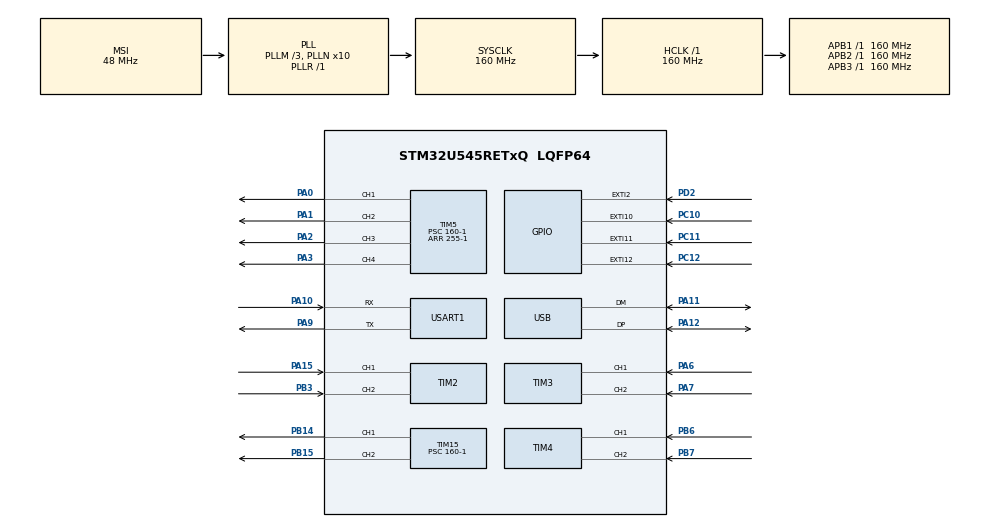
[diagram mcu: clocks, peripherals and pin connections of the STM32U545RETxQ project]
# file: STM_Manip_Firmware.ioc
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CORTEX_M33_NS.userName=CORTEX_M33
Mcu.Family=STM32U5
Mcu.Name=STM32U545RETxQ
Mcu.Package=LQFP64
NVIC.EXTI10_IRQn=true\:0\:0\:false\:false\:true\:false\:true\:true\:true
NVIC.EXTI11_IRQn=true\:0\:0\:false\:false\:true\:false\:true\:true\:true
NVIC.EXTI12_IRQn=true\:0\:0\:false\:false\:true\:false\:true\:true\:true
NVIC.EXTI2_IRQn=true\:0\:0\:false\:false\:true\:false\:true\:true\:true
NVIC.PriorityGroup=NVIC_PRIORITYGROUP_4
NVIC.TIM2_IRQn=true\:0\:0\:false\:false\:true\:false\:true\:true\:true
NVIC.TIM3_IRQn=true\:0\:0\:false\:false\:true\:false\:true\:true\:true
NVIC.TIM4_IRQn=true\:0\:0\:false\:false\:true\:false\:true\:true\:true
NVIC.TIM6_IRQn=true\:15\:0\:false\:false\:true\:false\:false\:true\:true
NVIC.TimeBase=TIM6_IRQn
NVIC.TimeBaseIP=TIM6
NVIC.USB_IRQn=true\:7\:0\:true\:false\:true\:false\:true\:true\:true
PA0.Signal=S_TIM5_CH1
PA1.Signal=S_TIM5_CH2
PA10.Mode=Asynchronous
PA10.Signal=USART1_RX
PA11.Mode=Device
PA11.Signal=USB_DM
PA12.Mode=Device
PA12.Signal=USB_DP
PA15\ (JTDI).Signal=S_TIM2_CH1
PA2.Signal=S_TIM5_CH3
PA3.Signal=S_TIM5_CH4
PA6.Signal=S_TIM3_CH1
PA7.Signal=S_TIM3_CH2
PA9.Mode=Asynchronous
PA9.Signal=USART1_TX
PB14.Signal=S_TIM15_CH1
PB15.Signal=S_TIM15_CH2
PB3\ (JTDO/TRACESWO).Signal=S_TIM2_CH2
PB6.Signal=S_TIM4_CH1
PB7.Signal=S_TIM4_CH2
PC10.GPIO_ModeDefaultEXTI=GPIO_MODE_IT_RISING_FALLING
PC10.Signal=GPXTI10
PC11.GPIO_ModeDefaultEXTI=GPIO_MODE_IT_RISING_FALLING
PC11.Signal=GPXTI11
PC12.GPIO_ModeDefaultEXTI=GPIO_MODE_IT_RISING_FALLING
PC12.Signal=GPXTI12
PD2.GPIO_ModeDefaultEXTI=GPIO_MODE_IT_RISING_FALLING
PD2.Signal=GPXTI2
PH0-OSC_IN\ (PH0).Mode=HSE-External-Clock-Source
PH0-OSC_IN\ (PH0).Signal=RCC_OSC_IN
PWR.PowerMode=PWR_SMPS_SUPPLY
ProjectManager.HeapSize=0x200
ProjectManager.StackSize=0x400
ProjectManager.TargetToolchain=STM32CubeIDE
RCC.ADCFreq_Value=16000000
RCC.AHBFreq_Value=160000000
RCC.APB1Freq_Value=160000000
RCC.APB1TimFreq_Value=160000000
RCC.APB2Freq_Value=160000000
RCC.APB2TimFreq_Value=160000000
RCC.APB3Freq_Value=160000000
RCC.CortexFreq_Value=160000000
RCC.DACCLockSelectionVirtual=RCC_DAC1CLKSOURCE_LSI
RCC.DACCLockSelectionVirtualString=RCC_DAC1CLKSOURCE_LSI
RCC.EPOD_VALUE=48000000
RCC.HCLKFreq_Value=160000000
RCC.HSE_VALUE=16000000
RCC.HSI48_VALUE=48000000
RCC.HSI_VALUE=16000000
RCC.LSE_VALUE=32768
RCC.LSIDIV_VALUE=32000
RCC.MSIClockRange=RCC_MSIRANGE_0
RCC.MSI_VALUE=48000000
RCC.PLL1R=1
RCC.PLL2FRACN=0
RCC.PLL3FRACN=0
RCC.PLLFRACN=0
RCC.PLLM=3
RCC.PLLN=10
RCC.SYSCLKFreq_VALUE=160000000
RCC.SYSCLKSource=RCC_SYSCLKSOURCE_PLLCLK
RCC.USBFreq_Value=48000000
RCC.VCOOutputFreq_Value=160000000
SH.S_TIM15_CH1.0=TIM15_CH1,PWM Generation1 CH1
SH.S_TIM15_CH2.0=TIM15_CH2,PWM Generation2 CH2
SH.S_TIM2_CH1.0=TIM2_CH1,Encoder_Interface
SH.S_TIM2_CH2.0=TIM2_CH2,Encoder_Interface
SH.S_TIM3_CH1.0=TIM3_CH1,Encoder_Interface
SH.S_TIM3_CH2.0=TIM3_CH2,Encoder_Interface
SH.S_TIM4_CH1.0=TIM4_CH1,Encoder_Interface
SH.S_TIM4_CH2.0=TIM4_CH2,Encoder_Interface
SH.S_TIM5_CH1.0=TIM5_CH1,PWM Generation1 CH1
SH.S_TIM5_CH2.0=TIM5_CH2,PWM Generation2 CH2
SH.S_TIM5_CH3.0=TIM5_CH3,PWM Generation3 CH3
SH.S_TIM5_CH4.0=TIM5_CH4,PWM Generation4 CH4
TIM15.Channel-PWM\ Generation1\ CH1=TIM_CHANNEL_1
TIM15.Channel-PWM\ Generation2\ CH2=TIM_CHANNEL_2
TIM15.PeriodNoDither=255-1
TIM15.Prescaler=160-1
TIM2.EncoderMode=TIM_ENCODERMODE_TI12
TIM3.EncoderMode=TIM_ENCODERMODE_TI12
TIM4.EncoderMode=TIM_ENCODERMODE_TI12
TIM5.Channel-PWM\ Generation1\ CH1=TIM_CHANNEL_1
TIM5.Channel-PWM\ Generation2\ CH2=TIM_CHANNEL_2
TIM5.Channel-PWM\ Generation3\ CH3=TIM_CHANNEL_3
TIM5.Channel-PWM\ Generation4\ CH4=TIM_CHANNEL_4
TIM5.PeriodNoDither=255-1
TIM5.Prescaler=160-1
USART1.VirtualMode-Asynchronous=VM_ASYNC
USBX.Core_System=1
USBX.MAX_POWER_IN_MILLI_AMPER=0
USBX.USBD_CDCACM_EPINCMD_ADDR=2
USBX.USBD_CDCACM_EPIN_ADDR=1
USBX.USBD_PID=22336
USBX.USBD_PRODUCT_STRING=STM32 Virtual ComPort
USBX.USBD_SERIAL_NUMBER=CDC_ACM001
USBX.USBX_DEVICE_SYS_SIZE=6*1024
USBX.UX_DEVICE_APP_MEM_POOL_SIZE=15*1024
USBX.UX_DEVICE_CDC_ACM=1
USBX.UX_DEVICE_CLASS_CDC_ACM_WRITE_AUTO_ZLP=1
USBX.UX_Device_Controller=1
USBX.UX_Device_CoreStack=1
USBX.UX_MAX_SLAVE_CLASS_DRIVER=1
USBX.UX_SLAVE_REQUEST_DATA_MAX_LENGTH=512
VP_ICACHE_VS_ICACHE.Mode=DirectMappedCache
VP_LPBAMQUEUE_VS_QUEUE.Mode=QUEUEMODE
VP_LPBAM_VS_SIG1.Mode=SmartRun
VP_LPBAM_VS_SIG4.Mode=LPDMA1
VP_MEMORYMAP_VS_MEMORYMAP.Mode=CurAppReg
VP_PWR_VS_DBSignals.Mode=DisableDeadBatterySignals
VP_PWR_VS_LPOM.Mode=PowerOptimisation
VP_PWR_VS_SECSignals.Mode=Security/Privilege
VP_RCC_USB.Mode=CRS SYNC Source USB
VP_SYS_VS_tim6.Mode=TIM6
VP_THREADX_VS_RTOSJjThreadXJjCoreJjDefault.Mode=Core_Default
VP_TIM15_VS_ClockSourceINT.Mode=Internal
VP_TIM5_VS_ClockSourceINT.Mode=Internal
VP_USBX_Core_System.Mode=Core_System
VP_USBX_UX\ Device\ CDC\ ACM\ Class_FS.Mode=UX_Device_class_CDC_ACM_FS
VP_USBX_UX\ Device\ Controller_FS.Mode=UX_Device_Controller_FS
VP_USBX_UX\ Device\ CoreStack_FS.Mode=UX_Device_CoreStack_FS
board=custom

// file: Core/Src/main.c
/* USER CODE BEGIN Header */
/**
  ******************************************************************************
  * @file           : main.c
  * @brief          : Main program body
  ******************************************************************************
  * @attention
  *
  * Copyright (c) 2025 STMicroelectronics.
  * All rights reserved.
  *
  * This software is licensed under terms that can be found in the LICENSE file
  * in the root directory of this software component.
  * If no LICENSE file comes with this software, it is provided AS-IS.
  *
  ******************************************************************************
  */
/* USER CODE END Header */
#include "app_threadx.h"
#include "main.h"

/* USER CODE BEGIN Includes */

#include "pin_mapping.h"
#include "robot_data.h"
#include "stdio.h"

/* USER CODE END Includes */

TIM_HandleTypeDef htim2;
TIM_HandleTypeDef htim3;
TIM_HandleTypeDef htim4;
TIM_HandleTypeDef htim5;
TIM_HandleTypeDef htim15;

UART_HandleTypeDef huart1;

PCD_HandleTypeDef hpcd_USB_DRD_FS;

/* USER CODE BEGIN PV */

MotorData motors_data[3];

/* USER CODE END PV */

void SystemClock_Config(void);
static void SystemPower_Config(void);
static void MX_GPIO_Init(void);
static void MX_ICACHE_Init(void);
static void MX_TIM2_Init(void);
static void MX_TIM3_Init(void);
static void MX_TIM4_Init(void);
static void MX_TIM5_Init(void);
static void MX_TIM15_Init(void);
static void MX_USART1_UART_Init(void);

/* USER CODE BEGIN 0 */

void HAL_TIM_IC_CaptureCallback(TIM_HandleTypeDef *htim)
{
	if(htim == ENCODER_0)
	{
		motors_data[0].encoder_actual_count = __HAL_TIM_GET_COUNTER(htim)/4;
		if(ENCODERS_DIRECTION[0] == -1)
		{
			motors_data[0].encoder_actual_count = 0xFFFFFFFF/4 - motors_data[0].encoder_actual_count;
		}
	}
	else if (htim == ENCODER_1)
	{
		motors_data[1].encoder_actual_count = __HAL_TIM_GET_COUNTER(htim)/4;
		if(ENCODERS_DIRECTION[1] == -1)
		{
			motors_data[1].encoder_actual_count = 0xFFFFFFFF/4 - __HAL_TIM_GET_COUNTER(htim)/4;
		}
		else motors_data[1].encoder_actual_count = __HAL_TIM_GET_COUNTER(htim)/4;
	}
	else
	{
		motors_data[2].encoder_actual_count = __HAL_TIM_GET_COUNTER(htim)/4;
		if(ENCODERS_DIRECTION[2] == -1)
		{
			motors_data[2].encoder_actual_count = 0xFFFFFFFF/4 - motors_data[2].encoder_actual_count;
		}

	}
}

/* USER CODE END 0 */

int main(void)
{

  /* MCU Configuration--------------------------------------------------------*/

  /* Reset of all peripherals, Initializes the Flash interface and the Systick. */
  HAL_Init();

  /* Configure the System Power */
  SystemPower_Config();

  /* Configure the system clock */
  SystemClock_Config();

  /* Initialize all configured peripherals */
  MX_GPIO_Init();
  MX_ICACHE_Init();
  MX_TIM2_Init();
  MX_TIM3_Init();
  MX_TIM4_Init();
  MX_TIM5_Init();
  MX_TIM15_Init();
  MX_USART1_UART_Init();
  /* USER CODE BEGIN 2 */

	HAL_TIM_Encoder_Start_IT(ENCODER_0, TIM_CHANNEL_ALL);
	HAL_TIM_Encoder_Start_IT(ENCODER_1, TIM_CHANNEL_ALL);
	HAL_TIM_Encoder_Start_IT(ENCODER_2, TIM_CHANNEL_ALL);

  HAL_TIM_PWM_Start(&htim5, TIM_CHANNEL_1);
  HAL_TIM_PWM_Start(&htim5, TIM_CHANNEL_2);
  HAL_TIM_PWM_Start(&htim5, TIM_CHANNEL_3);
  HAL_TIM_PWM_Start(&htim5, TIM_CHANNEL_4);
  HAL_TIM_PWM_Start(&htim15, TIM_CHANNEL_1);
  HAL_TIM_PWM_Start(&htim15, TIM_CHANNEL_2);

//  int test = 1;
//  printf((char* )test);
//  HAL_UART_Transmit(&huart1,(uint8_t *)"\r", sizeof("\r"), 1000);
  /* USER CODE END 2 */

  MX_ThreadX_Init();

  /* We should never get here as control is now taken by the scheduler */

  /* Infinite loop */
  while (1)
  {

  }
}

void SystemClock_Config(void)
{
  RCC_OscInitTypeDef RCC_OscInitStruct = {0};
  RCC_ClkInitTypeDef RCC_ClkInitStruct = {0};
  RCC_CRSInitTypeDef RCC_CRSInitStruct = {0};

  /** Configure the main internal regulator output voltage
  */
  if (HAL_PWREx_ControlVoltageScaling(PWR_REGULATOR_VOLTAGE_SCALE1) != HAL_OK)
  {
    Error_Handler();
  }

  /** Initializes the CPU, AHB and APB buses clocks
  */
  RCC_OscInitStruct.OscillatorType = RCC_OSCILLATORTYPE_HSI48|RCC_OSCILLATORTYPE_MSI;
  RCC_OscInitStruct.HSI48State = RCC_HSI48_ON;
  RCC_OscInitStruct.MSIState = RCC_MSI_ON;
  RCC_OscInitStruct.MSICalibrationValue = RCC_MSICALIBRATION_DEFAULT;
  RCC_OscInitStruct.MSIClockRange = RCC_MSIRANGE_0;
  RCC_OscInitStruct.PLL.PLLState = RCC_PLL_ON;
  RCC_OscInitStruct.PLL.PLLSource = RCC_PLLSOURCE_MSI;
  RCC_OscInitStruct.PLL.PLLMBOOST = RCC_PLLMBOOST_DIV4;
  RCC_OscInitStruct.PLL.PLLM = 3;
  RCC_OscInitStruct.PLL.PLLN = 10;
  RCC_OscInitStruct.PLL.PLLP = 2;
  RCC_OscInitStruct.PLL.PLLQ = 2;
  RCC_OscInitStruct.PLL.PLLR = 1;
  RCC_OscInitStruct.PLL.PLLRGE = RCC_PLLVCIRANGE_1;
  RCC_OscInitStruct.PLL.PLLFRACN = 0;
  if (HAL_RCC_OscConfig(&RCC_OscInitStruct) != HAL_OK)
  {
    Error_Handler();
  }

  /** Initializes the CPU, AHB and APB buses clocks
  */
  RCC_ClkInitStruct.ClockType = RCC_CLOCKTYPE_HCLK|RCC_CLOCKTYPE_SYSCLK
                              |RCC_CLOCKTYPE_PCLK1|RCC_CLOCKTYPE_PCLK2
                              |RCC_CLOCKTYPE_PCLK3;
  RCC_ClkInitStruct.SYSCLKSource = RCC_SYSCLKSOURCE_PLLCLK;
  RCC_ClkInitStruct.AHBCLKDivider = RCC_SYSCLK_DIV1;
  RCC_ClkInitStruct.APB1CLKDivider = RCC_HCLK_DIV1;
  RCC_ClkInitStruct.APB2CLKDivider = RCC_HCLK_DIV1;
  RCC_ClkInitStruct.APB3CLKDivider = RCC_HCLK_DIV1;

  if (HAL_RCC_ClockConfig(&RCC_ClkInitStruct, FLASH_LATENCY_4) != HAL_OK)
  {
    Error_Handler();
  }

  /** Enable the SYSCFG APB clock
  */
  __HAL_RCC_CRS_CLK_ENABLE();

  /** Configures CRS
  */
  RCC_CRSInitStruct.Prescaler = RCC_CRS_SYNC_DIV1;
  RCC_CRSInitStruct.Source = RCC_CRS_SYNC_SOURCE_USB;
  RCC_CRSInitStruct.Polarity = RCC_CRS_SYNC_POLARITY_RISING;
  RCC_CRSInitStruct.ReloadValue = __HAL_RCC_CRS_RELOADVALUE_CALCULATE(48000000,1000);
  RCC_CRSInitStruct.ErrorLimitValue = 34;
  RCC_CRSInitStruct.HSI48CalibrationValue = 32;

  HAL_RCCEx_CRSConfig(&RCC_CRSInitStruct);
}

/**
  * @brief Power Configuration
  * @retval None
  */
static void SystemPower_Config(void)
{

  /*
   * Switch to SMPS regulator instead of LDO
   */
  if (HAL_PWREx_ConfigSupply(PWR_SMPS_SUPPLY) != HAL_OK)
  {
    Error_Handler();
  }
}

static void MX_ICACHE_Init(void)
{

  /** Enable instruction cache in 1-way (direct mapped cache)
  */
  if (HAL_ICACHE_ConfigAssociativityMode(ICACHE_1WAY) != HAL_OK)
  {
    Error_Handler();
  }
  if (HAL_ICACHE_Enable() != HAL_OK)
  {
    Error_Handler();
  }

}

static void MX_TIM2_Init(void)
{

  TIM_Encoder_InitTypeDef sConfig = {0};
  TIM_MasterConfigTypeDef sMasterConfig = {0};

  htim2.Instance = TIM2;
  htim2.Init.Prescaler = 0;
  htim2.Init.CounterMode = TIM_COUNTERMODE_UP;
  htim2.Init.Period = 4294967295;
  htim2.Init.ClockDivision = TIM_CLOCKDIVISION_DIV1;
  htim2.Init.AutoReloadPreload = TIM_AUTORELOAD_PRELOAD_DISABLE;
  sConfig.EncoderMode = TIM_ENCODERMODE_TI12;
  sConfig.IC1Polarity = TIM_ICPOLARITY_RISING;
  sConfig.IC1Selection = TIM_ICSELECTION_DIRECTTI;
  sConfig.IC1Prescaler = TIM_ICPSC_DIV1;
  sConfig.IC1Filter = 0;
  sConfig.IC2Polarity = TIM_ICPOLARITY_RISING;
  sConfig.IC2Selection = TIM_ICSELECTION_DIRECTTI;
  sConfig.IC2Prescaler = TIM_ICPSC_DIV1;
  sConfig.IC2Filter = 0;
  if (HAL_TIM_Encoder_Init(&htim2, &sConfig) != HAL_OK)
  {
    Error_Handler();
  }
  sMasterConfig.MasterOutputTrigger = TIM_TRGO_RESET;
  sMasterConfig.MasterSlaveMode = TIM_MASTERSLAVEMODE_DISABLE;
  if (HAL_TIMEx_MasterConfigSynchronization(&htim2, &sMasterConfig) != HAL_OK)
  {
    Error_Handler();
  }

}

static void MX_TIM3_Init(void)
{

  TIM_Encoder_InitTypeDef sConfig = {0};
  TIM_MasterConfigTypeDef sMasterConfig = {0};

  htim3.Instance = TIM3;
  htim3.Init.Prescaler = 0;
  htim3.Init.CounterMode = TIM_COUNTERMODE_UP;
  htim3.Init.Period = 4294967295;
  htim3.Init.ClockDivision = TIM_CLOCKDIVISION_DIV1;
  htim3.Init.AutoReloadPreload = TIM_AUTORELOAD_PRELOAD_DISABLE;
  sConfig.EncoderMode = TIM_ENCODERMODE_TI12;
  sConfig.IC1Polarity = TIM_ICPOLARITY_RISING;
  sConfig.IC1Selection = TIM_ICSELECTION_DIRECTTI;
  sConfig.IC1Prescaler = TIM_ICPSC_DIV1;
  sConfig.IC1Filter = 0;
  sConfig.IC2Polarity = TIM_ICPOLARITY_RISING;
  sConfig.IC2Selection = TIM_ICSELECTION_DIRECTTI;
  sConfig.IC2Prescaler = TIM_ICPSC_DIV1;
  sConfig.IC2Filter = 0;
  if (HAL_TIM_Encoder_Init(&htim3, &sConfig) != HAL_OK)
  {
    Error_Handler();
  }
  sMasterConfig.MasterOutputTrigger = TIM_TRGO_RESET;
  sMasterConfig.MasterSlaveMode = TIM_MASTERSLAVEMODE_DISABLE;
  if (HAL_TIMEx_MasterConfigSynchronization(&htim3, &sMasterConfig) != HAL_OK)
  {
    Error_Handler();
  }

}

static void MX_TIM4_Init(void)
{

  TIM_Encoder_InitTypeDef sConfig = {0};
  TIM_MasterConfigTypeDef sMasterConfig = {0};

  htim4.Instance = TIM4;
  htim4.Init.Prescaler = 0;
  htim4.Init.CounterMode = TIM_COUNTERMODE_UP;
  htim4.Init.Period = 4294967295;
  htim4.Init.ClockDivision = TIM_CLOCKDIVISION_DIV1;
  htim4.Init.AutoReloadPreload = TIM_AUTORELOAD_PRELOAD_DISABLE;
  sConfig.EncoderMode = TIM_ENCODERMODE_TI12;
  sConfig.IC1Polarity = TIM_ICPOLARITY_RISING;
  sConfig.IC1Selection = TIM_ICSELECTION_DIRECTTI;
  sConfig.IC1Prescaler = TIM_ICPSC_DIV1;
  sConfig.IC1Filter = 0;
  sConfig.IC2Polarity = TIM_ICPOLARITY_RISING;
  sConfig.IC2Selection = TIM_ICSELECTION_DIRECTTI;
  sConfig.IC2Prescaler = TIM_ICPSC_DIV1;
  sConfig.IC2Filter = 0;
  if (HAL_TIM_Encoder_Init(&htim4, &sConfig) != HAL_OK)
  {
    Error_Handler();
  }
  sMasterConfig.MasterOutputTrigger = TIM_TRGO_RESET;
  sMasterConfig.MasterSlaveMode = TIM_MASTERSLAVEMODE_DISABLE;
  if (HAL_TIMEx_MasterConfigSynchronization(&htim4, &sMasterConfig) != HAL_OK)
  {
    Error_Handler();
  }

}

static void MX_TIM5_Init(void)
{

  TIM_ClockConfigTypeDef sClockSourceConfig = {0};
  TIM_MasterConfigTypeDef sMasterConfig = {0};
  TIM_OC_InitTypeDef sConfigOC = {0};

  htim5.Instance = TIM5;
  htim5.Init.Prescaler = 160-1;
  htim5.Init.CounterMode = TIM_COUNTERMODE_UP;
  htim5.Init.Period = 254;
  htim5.Init.ClockDivision = TIM_CLOCKDIVISION_DIV1;
  htim5.Init.AutoReloadPreload = TIM_AUTORELOAD_PRELOAD_DISABLE;
  if (HAL_TIM_Base_Init(&htim5) != HAL_OK)
  {
    Error_Handler();
  }
  sClockSourceConfig.ClockSource = TIM_CLOCKSOURCE_INTERNAL;
  if (HAL_TIM_ConfigClockSource(&htim5, &sClockSourceConfig) != HAL_OK)
  {
    Error_Handler();
  }
  if (HAL_TIM_PWM_Init(&htim5) != HAL_OK)
  {
    Error_Handler();
  }
  sMasterConfig.MasterOutputTrigger = TIM_TRGO_RESET;
  sMasterConfig.MasterSlaveMode = TIM_MASTERSLAVEMODE_DISABLE;
  if (HAL_TIMEx_MasterConfigSynchronization(&htim5, &sMasterConfig) != HAL_OK)
  {
    Error_Handler();
  }
  sConfigOC.OCMode = TIM_OCMODE_PWM1;
  sConfigOC.Pulse = 0;
  sConfigOC.OCPolarity = TIM_OCPOLARITY_HIGH;
  sConfigOC.OCFastMode = TIM_OCFAST_DISABLE;
  if (HAL_TIM_PWM_ConfigChannel(&htim5, &sConfigOC, TIM_CHANNEL_1) != HAL_OK)
  {
    Error_Handler();
  }
  if (HAL_TIM_PWM_ConfigChannel(&htim5, &sConfigOC, TIM_CHANNEL_2) != HAL_OK)
  {
    Error_Handler();
  }
  if (HAL_TIM_PWM_ConfigChannel(&htim5, &sConfigOC, TIM_CHANNEL_3) != HAL_OK)
  {
    Error_Handler();
  }
  if (HAL_TIM_PWM_ConfigChannel(&htim5, &sConfigOC, TIM_CHANNEL_4) != HAL_OK)
  {
    Error_Handler();
  }
  HAL_TIM_MspPostInit(&htim5);

}

static void MX_TIM15_Init(void)
{

  TIM_ClockConfigTypeDef sClockSourceConfig = {0};
  TIM_MasterConfigTypeDef sMasterConfig = {0};
  TIM_OC_InitTypeDef sConfigOC = {0};
  TIM_BreakDeadTimeConfigTypeDef sBreakDeadTimeConfig = {0};

  htim15.Instance = TIM15;
  htim15.Init.Prescaler = 160-1;
  htim15.Init.CounterMode = TIM_COUNTERMODE_UP;
  htim15.Init.Period = 254;
  htim15.Init.ClockDivision = TIM_CLOCKDIVISION_DIV1;
  htim15.Init.RepetitionCounter = 0;
  htim15.Init.AutoReloadPreload = TIM_AUTORELOAD_PRELOAD_DISABLE;
  if (HAL_TIM_Base_Init(&htim15) != HAL_OK)
  {
    Error_Handler();
  }
  sClockSourceConfig.ClockSource = TIM_CLOCKSOURCE_INTERNAL;
  if (HAL_TIM_ConfigClockSource(&htim15, &sClockSourceConfig) != HAL_OK)
  {
    Error_Handler();
  }
  if (HAL_TIM_PWM_Init(&htim15) != HAL_OK)
  {
    Error_Handler();
  }
  sMasterConfig.MasterOutputTrigger = TIM_TRGO_RESET;
  sMasterConfig.MasterSlaveMode = TIM_MASTERSLAVEMODE_DISABLE;
  if (HAL_TIMEx_MasterConfigSynchronization(&htim15, &sMasterConfig) != HAL_OK)
  {
    Error_Handler();
  }
  sConfigOC.OCMode = TIM_OCMODE_PWM1;
  sConfigOC.Pulse = 0;
  sConfigOC.OCPolarity = TIM_OCPOLARITY_HIGH;
  sConfigOC.OCNPolarity = TIM_OCNPOLARITY_HIGH;
  sConfigOC.OCFastMode = TIM_OCFAST_DISABLE;
  sConfigOC.OCIdleState = TIM_OCIDLESTATE_RESET;
  sConfigOC.OCNIdleState = TIM_OCNIDLESTATE_RESET;
  if (HAL_TIM_PWM_ConfigChannel(&htim15, &sConfigOC, TIM_CHANNEL_1) != HAL_OK)
  {
    Error_Handler();
  }
  if (HAL_TIM_PWM_ConfigChannel(&htim15, &sConfigOC, TIM_CHANNEL_2) != HAL_OK)
  {
    Error_Handler();
  }
  sBreakDeadTimeConfig.OffStateRunMode = TIM_OSSR_DISABLE;
  sBreakDeadTimeConfig.OffStateIDLEMode = TIM_OSSI_DISABLE;
  sBreakDeadTimeConfig.LockLevel = TIM_LOCKLEVEL_OFF;
  sBreakDeadTimeConfig.DeadTime = 0;
  sBreakDeadTimeConfig.BreakState = TIM_BREAK_DISABLE;
  sBreakDeadTimeConfig.BreakPolarity = TIM_BREAKPOLARITY_HIGH;
  sBreakDeadTimeConfig.BreakFilter = 0;
  sBreakDeadTimeConfig.AutomaticOutput = TIM_AUTOMATICOUTPUT_DISABLE;
  if (HAL_TIMEx_ConfigBreakDeadTime(&htim15, &sBreakDeadTimeConfig) != HAL_OK)
  {
    Error_Handler();
  }
  HAL_TIM_MspPostInit(&htim15);

}

static void MX_USART1_UART_Init(void)
{

  huart1.Instance = USART1;
  huart1.Init.BaudRate = 115200;
  huart1.Init.WordLength = UART_WORDLENGTH_8B;
  huart1.Init.StopBits = UART_STOPBITS_1;
  huart1.Init.Parity = UART_PARITY_NONE;
  huart1.Init.Mode = UART_MODE_TX_RX;
  huart1.Init.HwFlowCtl = UART_HWCONTROL_NONE;
  huart1.Init.OverSampling = UART_OVERSAMPLING_16;
  huart1.Init.OneBitSampling = UART_ONE_BIT_SAMPLE_DISABLE;
  huart1.Init.ClockPrescaler = UART_PRESCALER_DIV1;
  huart1.AdvancedInit.AdvFeatureInit = UART_ADVFEATURE_NO_INIT;
  if (HAL_UART_Init(&huart1) != HAL_OK)
  {
    Error_Handler();
  }
  if (HAL_UARTEx_SetTxFifoThreshold(&huart1, UART_TXFIFO_THRESHOLD_1_8) != HAL_OK)
  {
    Error_Handler();
  }
  if (HAL_UARTEx_SetRxFifoThreshold(&huart1, UART_RXFIFO_THRESHOLD_1_8) != HAL_OK)
  {
    Error_Handler();
  }
  if (HAL_UARTEx_DisableFifoMode(&huart1) != HAL_OK)
  {
    Error_Handler();
  }

}

void MX_USB_DRD_FS_PCD_Init(void)
{

  hpcd_USB_DRD_FS.Instance = USB_DRD_FS;
  hpcd_USB_DRD_FS.Init.dev_endpoints = 8;
  hpcd_USB_DRD_FS.Init.speed = PCD_SPEED_FULL;
  hpcd_USB_DRD_FS.Init.phy_itface = PCD_PHY_EMBEDDED;
  hpcd_USB_DRD_FS.Init.Sof_enable = DISABLE;
  hpcd_USB_DRD_FS.Init.low_power_enable = DISABLE;
  hpcd_USB_DRD_FS.Init.lpm_enable = DISABLE;
  hpcd_USB_DRD_FS.Init.battery_charging_enable = DISABLE;
  hpcd_USB_DRD_FS.Init.vbus_sensing_enable = DISABLE;
  hpcd_USB_DRD_FS.Init.bulk_doublebuffer_enable = DISABLE;
  hpcd_USB_DRD_FS.Init.iso_singlebuffer_enable = DISABLE;
  if (HAL_PCD_Init(&hpcd_USB_DRD_FS) != HAL_OK)
  {
    Error_Handler();
  }

}

static void MX_GPIO_Init(void)
{
  GPIO_InitTypeDef GPIO_InitStruct = {0};

  /* GPIO Ports Clock Enable */
  __HAL_RCC_GPIOH_CLK_ENABLE();
  __HAL_RCC_GPIOA_CLK_ENABLE();
  __HAL_RCC_GPIOB_CLK_ENABLE();
  __HAL_RCC_GPIOC_CLK_ENABLE();
  __HAL_RCC_GPIOD_CLK_ENABLE();

  /*Configure GPIO pins : PC10 PC11 PC12 */
  GPIO_InitStruct.Pin = GPIO_PIN_10|GPIO_PIN_11|GPIO_PIN_12;
  GPIO_InitStruct.Mode = GPIO_MODE_IT_RISING_FALLING;
  GPIO_InitStruct.Pull = GPIO_NOPULL;
  HAL_GPIO_Init(GPIOC, &GPIO_InitStruct);

  /*Configure GPIO pin : PD2 */
  GPIO_InitStruct.Pin = GPIO_PIN_2;
  GPIO_InitStruct.Mode = GPIO_MODE_IT_RISING_FALLING;
  GPIO_InitStruct.Pull = GPIO_NOPULL;
  HAL_GPIO_Init(GPIOD, &GPIO_InitStruct);

  /* EXTI interrupt init*/
  HAL_NVIC_SetPriority(EXTI2_IRQn, 0, 0);
  HAL_NVIC_EnableIRQ(EXTI2_IRQn);

  HAL_NVIC_SetPriority(EXTI10_IRQn, 0, 0);
  HAL_NVIC_EnableIRQ(EXTI10_IRQn);

  HAL_NVIC_SetPriority(EXTI11_IRQn, 0, 0);
  HAL_NVIC_EnableIRQ(EXTI11_IRQn);

  HAL_NVIC_SetPriority(EXTI12_IRQn, 0, 0);
  HAL_NVIC_EnableIRQ(EXTI12_IRQn);

}

/* USER CODE BEGIN 4 */
/**
  * @brief  Retargets the C library printf function to the USART.
  *   None
  * @retval None
  */
PUTCHAR_PROTOTYPE
{
  /* Place your implementation of fputc here */
  /* e.g. write a character to the USART1 and Loop until the end of transmission */
  HAL_UART_Transmit(&huart1, (uint8_t *)&ch, 1, 0xFFFF);
//  HAL_UART_Transmit(&huart1, (uint8_t *)"\r", 2, 0xFFFF);

  return ch;
}

void HAL_GPIO_EXTI_Rising_Callback(uint16_t GPIO_Pin){
	switch(GPIO_Pin){
		case GPIO_PIN_2:
			limit_switch_state[0] = 0;
			break;
		case GPIO_PIN_10:
			limit_switch_state[1] = 0;
			break;
		case GPIO_PIN_11:
			limit_switch_state[2] = 0;
			break;
		case GPIO_PIN_12:
			limit_switch_state[3] = 0;
			break;
	}
}

void HAL_GPIO_EXTI_Falling_Callback(uint16_t GPIO_Pin){
	switch(GPIO_Pin){
		case GPIO_PIN_2:
			limit_switch_state[0] = 1;
			break;
		case GPIO_PIN_10:
			limit_switch_state[1] = 1;
			break;
		case GPIO_PIN_11:
			limit_switch_state[2] = 1;
			break;
		case GPIO_PIN_12:
			limit_switch_state[3] = 1;
			break;
	}
}

/* USER CODE END 4 */

void HAL_TIM_PeriodElapsedCallback(TIM_HandleTypeDef *htim)
{
  if (htim->Instance == TIM6) {
    HAL_IncTick();
  }
}

void Error_Handler(void)
{
  __disable_irq();
  while (1)
  {
  }
}
